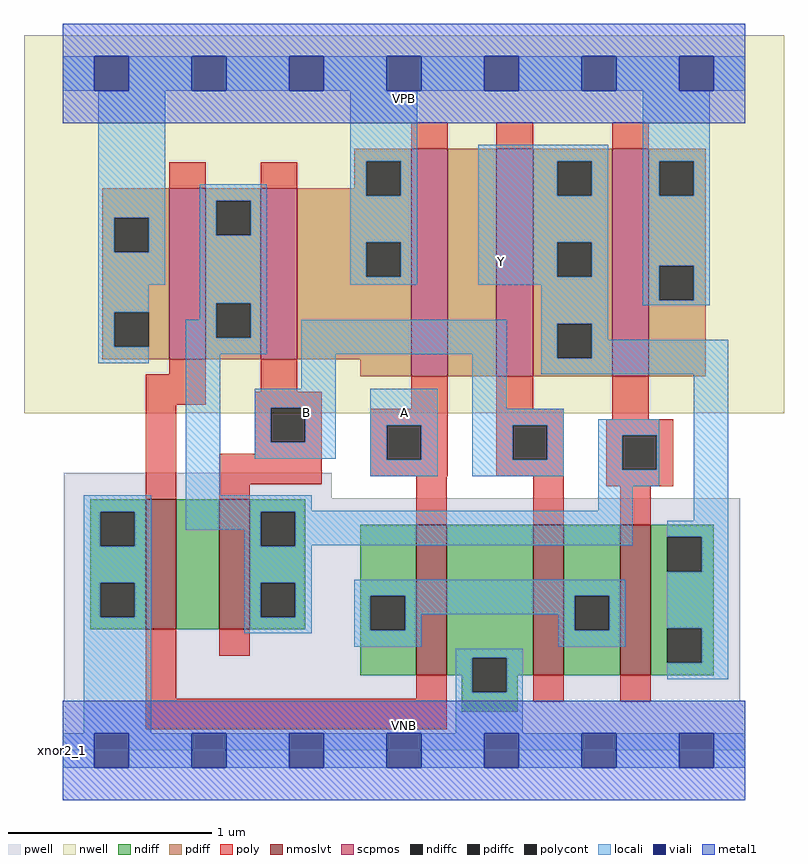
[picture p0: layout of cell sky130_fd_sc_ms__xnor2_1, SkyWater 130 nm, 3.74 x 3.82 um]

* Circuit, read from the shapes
.subckt sky130_fd_sc_ms__xnor2_1 A B VGND VNB VPB VPWR Y
XM1 n1 A VGND VNB sky130_fd_pr__nfet_01v8_lvt w=0.64 l=0.15
XM2 n2 B n1 VNB sky130_fd_pr__nfet_01v8_lvt w=0.64 l=0.15
XM3 VGND A n3 VNB sky130_fd_pr__nfet_01v8_lvt w=0.74 l=0.15
XM4 n3 B VGND VNB sky130_fd_pr__nfet_01v8_lvt w=0.74 l=0.15
XM5 Y n2 n3 VNB sky130_fd_pr__nfet_01v8_lvt w=0.74 l=0.15
XM6 n2 A VPWR VPB sky130_fd_pr__pfet_01v8 w=0.84 l=0.18
XM7 VPWR B n2 VPB sky130_fd_pr__pfet_01v8 w=0.84 l=0.18
XM8 n4 A VPWR VPB sky130_fd_pr__pfet_01v8 w=1.12 l=0.18
XM9 Y B n4 VPB sky130_fd_pr__pfet_01v8 w=1.12 l=0.18
XM10 VPWR n2 Y VPB sky130_fd_pr__pfet_01v8 w=1.12 l=0.18
.ends

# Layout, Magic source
magic
tech sky130A
magscale 1 2
<< nwell >>
rect -38 332 710 704
<< pwell >>
rect 1 248 265 273
rect 1 49 667 248
rect 0 0 672 49
<< scpmos >>
rect 105 385 141 553
rect 195 385 231 553
rect 343 368 379 592
rect 427 368 463 592
rect 541 368 577 592
<< nmoslvt >>
rect 82 119 112 247
rect 154 119 184 247
rect 348 74 378 222
rect 463 74 493 222
rect 549 74 579 222
<< ndiff >>
rect 27 235 82 247
rect 27 201 37 235
rect 71 201 82 235
rect 27 165 82 201
rect 27 131 37 165
rect 71 131 82 165
rect 27 119 82 131
rect 112 119 154 247
rect 184 235 239 247
rect 184 201 195 235
rect 229 201 239 235
rect 184 165 239 201
rect 184 131 195 165
rect 229 131 239 165
rect 184 119 239 131
rect 293 152 348 222
rect 293 118 303 152
rect 337 118 348 152
rect 293 74 348 118
rect 378 91 463 222
rect 378 74 403 91
rect 393 57 403 74
rect 437 74 463 91
rect 493 152 549 222
rect 493 118 504 152
rect 538 118 549 152
rect 493 74 549 118
rect 579 210 641 222
rect 579 176 595 210
rect 629 176 641 210
rect 579 120 641 176
rect 579 86 595 120
rect 629 86 641 120
rect 579 74 641 86
rect 437 57 448 74
rect 393 38 448 57
<< pdiff >>
rect 287 580 343 592
rect 287 553 299 580
rect 39 524 105 553
rect 39 490 51 524
rect 85 490 105 524
rect 39 431 105 490
rect 39 397 51 431
rect 85 397 105 431
rect 39 385 105 397
rect 141 541 195 553
rect 141 507 151 541
rect 185 507 195 541
rect 141 440 195 507
rect 141 406 151 440
rect 185 406 195 440
rect 141 385 195 406
rect 231 546 299 553
rect 333 546 343 580
rect 231 500 343 546
rect 231 466 299 500
rect 333 466 343 500
rect 231 385 343 466
rect 293 368 343 385
rect 379 368 427 592
rect 463 580 541 592
rect 463 546 487 580
rect 521 546 541 580
rect 463 500 541 546
rect 463 466 487 500
rect 521 466 541 500
rect 463 420 541 466
rect 463 386 487 420
rect 521 386 541 420
rect 463 368 541 386
rect 577 580 633 592
rect 577 546 587 580
rect 621 546 633 580
rect 577 477 633 546
rect 577 443 587 477
rect 621 443 633 477
rect 577 368 633 443
<< ndiffc >>
rect 37 201 71 235
rect 37 131 71 165
rect 195 201 229 235
rect 195 131 229 165
rect 303 118 337 152
rect 403 57 437 91
rect 504 118 538 152
rect 595 176 629 210
rect 595 86 629 120
<< pdiffc >>
rect 51 490 85 524
rect 51 397 85 431
rect 151 507 185 541
rect 151 406 185 440
rect 299 546 333 580
rect 299 466 333 500
rect 487 546 521 580
rect 487 466 521 500
rect 487 386 521 420
rect 587 546 621 580
rect 587 443 621 477
<< poly >>
rect 343 592 379 618
rect 427 592 463 618
rect 541 592 577 618
rect 105 553 141 579
rect 195 553 231 579
rect 105 370 141 385
rect 82 340 141 370
rect 195 353 231 385
rect 82 247 112 340
rect 189 337 255 353
rect 189 303 205 337
rect 239 303 255 337
rect 343 336 379 368
rect 189 292 255 303
rect 154 262 255 292
rect 303 320 379 336
rect 303 286 319 320
rect 353 286 379 320
rect 303 270 379 286
rect 427 336 463 368
rect 427 320 493 336
rect 541 326 577 368
rect 427 286 443 320
rect 477 286 493 320
rect 427 270 493 286
rect 154 247 184 262
rect 348 222 378 270
rect 463 222 493 270
rect 535 310 601 326
rect 535 276 551 310
rect 585 276 601 310
rect 535 260 601 276
rect 549 222 579 260
rect 82 51 112 119
rect 154 93 184 119
rect 348 51 378 74
rect 82 21 378 51
rect 463 48 493 74
rect 549 48 579 74
<< polycont >>
rect 205 303 239 337
rect 319 286 353 320
rect 443 286 477 320
rect 551 276 585 310
<< locali >>
rect 0 649 31 683
rect 65 649 127 683
rect 161 649 223 683
rect 257 649 319 683
rect 353 649 415 683
rect 449 649 511 683
rect 545 649 607 683
rect 641 649 672 683
rect 35 524 101 649
rect 283 580 349 649
rect 35 490 51 524
rect 85 490 101 524
rect 35 458 101 490
rect 135 541 201 557
rect 135 507 151 541
rect 185 507 201 541
rect 35 431 85 458
rect 35 397 51 431
rect 135 440 201 507
rect 283 546 299 580
rect 333 546 349 580
rect 283 500 349 546
rect 283 466 299 500
rect 333 466 349 500
rect 283 458 349 466
rect 409 580 537 596
rect 409 546 487 580
rect 521 546 537 580
rect 409 500 537 546
rect 409 466 487 500
rect 521 466 537 500
rect 409 458 537 466
rect 135 424 151 440
rect 35 381 85 397
rect 121 406 151 424
rect 185 406 201 440
rect 121 390 201 406
rect 235 390 437 424
rect 121 251 155 390
rect 235 356 269 390
rect 189 337 269 356
rect 189 303 205 337
rect 239 303 269 337
rect 189 287 269 303
rect 303 320 369 356
rect 303 286 319 320
rect 353 286 369 320
rect 303 270 369 286
rect 403 336 437 390
rect 471 420 537 458
rect 571 580 637 649
rect 571 546 587 580
rect 621 546 637 580
rect 571 477 637 546
rect 571 443 587 477
rect 621 443 637 477
rect 571 438 637 443
rect 471 386 487 420
rect 521 404 537 420
rect 521 386 655 404
rect 471 370 655 386
rect 403 320 493 336
rect 403 286 443 320
rect 477 286 493 320
rect 403 270 493 286
rect 527 310 587 326
rect 527 276 551 310
rect 585 276 587 310
rect 527 260 587 276
rect 21 235 87 251
rect 21 201 37 235
rect 71 201 87 235
rect 121 236 245 251
rect 527 236 561 260
rect 121 235 561 236
rect 121 217 195 235
rect 21 165 87 201
rect 21 131 37 165
rect 71 131 87 165
rect 21 17 87 131
rect 179 201 195 217
rect 229 202 561 235
rect 621 226 655 370
rect 595 210 655 226
rect 229 201 245 202
rect 179 165 245 201
rect 629 176 655 210
rect 179 131 195 165
rect 229 131 245 165
rect 179 115 245 131
rect 287 152 554 168
rect 287 118 303 152
rect 337 134 504 152
rect 337 118 353 134
rect 287 102 353 118
rect 488 118 504 134
rect 538 118 554 152
rect 488 102 554 118
rect 595 120 655 176
rect 387 91 453 100
rect 387 57 403 91
rect 437 57 453 91
rect 629 86 655 120
rect 595 70 655 86
rect 387 17 453 57
rect 0 -17 31 17
rect 65 -17 127 17
rect 161 -17 223 17
rect 257 -17 319 17
rect 353 -17 415 17
rect 449 -17 511 17
rect 545 -17 607 17
rect 641 -17 672 17
<< viali >>
rect 31 649 65 683
rect 127 649 161 683
rect 223 649 257 683
rect 319 649 353 683
rect 415 649 449 683
rect 511 649 545 683
rect 607 649 641 683
rect 31 -17 65 17
rect 127 -17 161 17
rect 223 -17 257 17
rect 319 -17 353 17
rect 415 -17 449 17
rect 511 -17 545 17
rect 607 -17 641 17
<< metal1 >>
rect 0 683 672 715
rect 0 649 31 683
rect 65 649 127 683
rect 161 649 223 683
rect 257 649 319 683
rect 353 649 415 683
rect 449 649 511 683
rect 545 649 607 683
rect 641 649 672 683
rect 0 617 672 649
rect 0 17 672 49
rect 0 -17 31 17
rect 65 -17 127 17
rect 161 -17 223 17
rect 257 -17 319 17
rect 353 -17 415 17
rect 449 -17 511 17
rect 545 -17 607 17
rect 641 -17 672 17
rect 0 -49 672 -17
<< labels >>
flabel pwell s 0 0 672 49 0 FreeSans 200 0 0 0 VNB
port 4 nsew ground bidirectional
flabel nwell s 0 617 672 666 0 FreeSans 200 0 0 0 VPB
port 5 nsew power bidirectional
rlabel comment s 0 0 0 0 4 xnor2_1
flabel metal1 s 0 617 672 666 0 FreeSans 340 0 0 0 VPWR
port 6 nsew power bidirectional
flabel metal1 s 0 0 672 49 0 FreeSans 340 0 0 0 VGND
port 3 nsew ground bidirectional
flabel locali s 319 316 353 350 0 FreeSans 340 0 0 0 A
port 1 nsew signal input
flabel locali s 415 464 449 498 0 FreeSans 340 0 0 0 Y
port 7 nsew signal output
flabel locali s 223 316 257 350 0 FreeSans 340 0 0 0 B
port 2 nsew signal input
<< properties >>
string LEFsite unit
string LEFclass CORE
string FIXED_BBOX 0 0 672 666
string GDS_FILE $PDKPATH/libs.ref/sky130_fd_sc_ms/gds/sky130_fd_sc_ms.gds
string LEFsymmetry X Y
string GDS_END 2398088
string GDS_START 2392272
<< end >>
